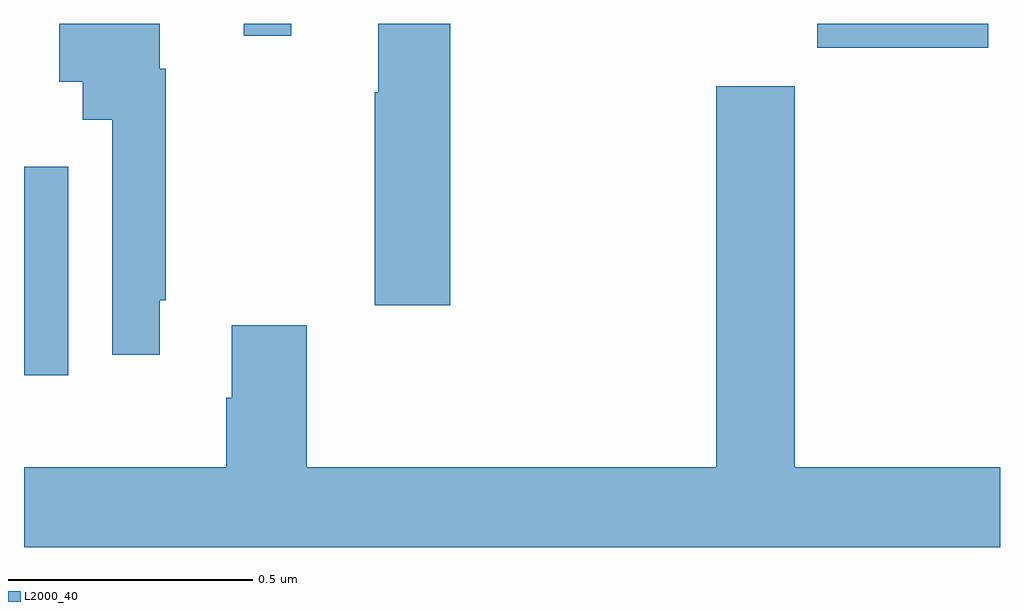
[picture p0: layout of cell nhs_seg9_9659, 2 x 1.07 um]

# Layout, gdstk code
import gdstk
lib = gdstk.Library(unit=1e-6, precision=1e-09)
def R(c, l, rs):  # rectangles x0, y0, x1, y1
    for r in rs: c.add(gdstk.rectangle(r[:2], r[2:], *l))
def P(c, l, *ps):  # polygons
    for p in ps: c.add(gdstk.Polygon(p, *l))
L2000_40 = (2000, 40)

nhs_seg9_9659 = lib.new_cell('nhs_seg9_9659')
R(nhs_seg9_9659, L2000_40, [(233,1188.78,233.091,1189.207), (234.626,1189.451,234.976,1189.5), (233.45,1189.476,233.548,1189.5)])
P(nhs_seg9_9659, L2000_40, [(233.278,1188.934),(233.29,1188.934),(233.29,1189.408),(233.278,1189.408),(233.278,1189.5),(233.072,1189.5),(233.072,1189.382),(233.12,1189.382),(233.12,1189.304),(233.181,1189.304),(233.181,1188.822),(233.278,1188.822)],
  [(233.873,1189.5),(233.726,1189.5),(233.726,1189.36),(233.719,1189.36),(233.719,1188.924),(233.873,1188.924)],
  [(235,1188.592),(234.579,1188.592),(234.579,1189.372),(234.419,1189.372),(234.419,1188.592),(233.579,1188.592),(233.579,1188.883),(233.426,1188.883),(233.426,1188.734),(233.414,1188.734),(233.414,1188.592),(233,1188.592),(233,1188.428),(235,1188.428)])

lib.write_gds('nhs_seg9_9659.gds')
